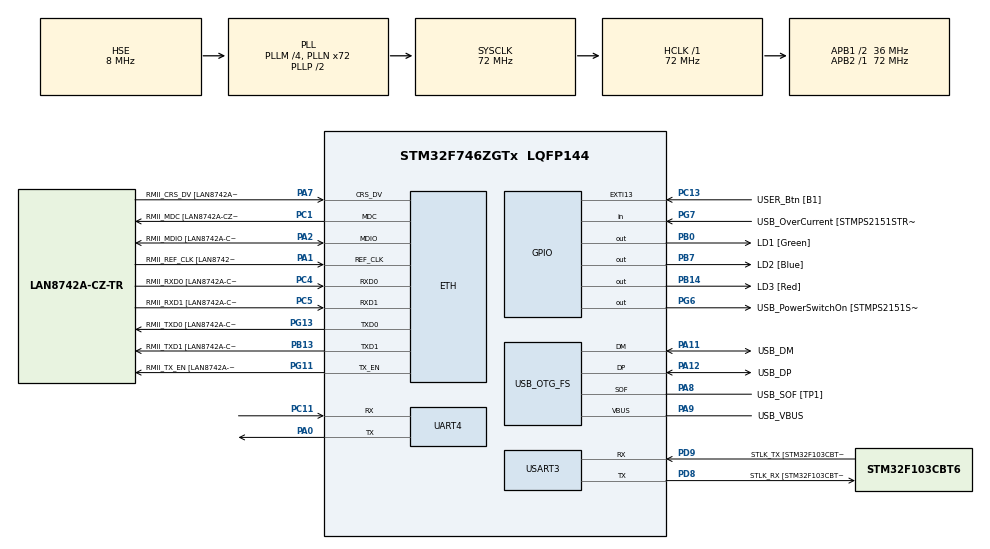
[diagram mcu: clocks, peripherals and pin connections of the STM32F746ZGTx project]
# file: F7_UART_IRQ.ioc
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ETH.MediaInterface=ETH_MEDIA_INTERFACE_RMII
ETH.PHY_Name=LAN8742A_PHY_ADDRESS
ETH.PHY_Value=0
ETH.PhyAddress=0
Mcu.Family=STM32F7
Mcu.Name=STM32F746ZGTx
Mcu.Package=LQFP144
NVIC.PriorityGroup=NVIC_PRIORITYGROUP_4
NVIC.UART4_IRQn=true\:0\:0\:false\:false\:true\:true\:true
NVIC.USART3_IRQn=true\:0\:0\:false\:false\:true\:true\:true
PA0/WKUP.Mode=Asynchronous
PA0/WKUP.Signal=UART4_TX
PA1.GPIO_Label=RMII_REF_CLK [LAN8742A-CZ-TR_REFCLK0]
PA1.Mode=RMII
PA1.Signal=ETH_REF_CLK
PA10.GPIO_Label=USB_ID
PA10.Signal=USB_OTG_FS_ID
PA11.GPIO_Label=USB_DM
PA11.Mode=Device_Only
PA11.Signal=USB_OTG_FS_DM
PA12.GPIO_Label=USB_DP
PA12.Mode=Device_Only
PA12.Signal=USB_OTG_FS_DP
PA13.GPIO_Label=TMS
PA13.Mode=Serial_Wire
PA13.Signal=SYS_JTMS-SWDIO
PA14.GPIO_Label=TCK
PA14.Mode=Serial_Wire
PA14.Signal=SYS_JTCK-SWCLK
PA2.GPIO_Label=RMII_MDIO [LAN8742A-CZ-TR_MDIO]
PA2.Mode=RMII
PA2.Signal=ETH_MDIO
PA7.GPIO_Label=RMII_CRS_DV [LAN8742A-CZ-TR_CRS_DV]
PA7.Mode=RMII
PA7.Signal=ETH_CRS_DV
PA8.GPIO_Label=USB_SOF [TP1]
PA8.Mode=Activate_SOF_FS
PA8.Signal=USB_OTG_FS_SOF
PA9.GPIO_Label=USB_VBUS
PA9.Mode=Activate_VBUS
PA9.Signal=USB_OTG_FS_VBUS
PB0.GPIO_Label=LD1 [Green]
PB0.Signal=GPIO_Output
PB13.GPIO_Label=RMII_TXD1 [LAN8742A-CZ-TR_TXD1]
PB13.Mode=RMII
PB13.Signal=ETH_TXD1
PB14.GPIO_Label=LD3 [Red]
PB14.Signal=GPIO_Output
PB3.GPIO_Label=SW0
PB3.Signal=SYS_JTDO-SWO
PB7.GPIO_Label=LD2 [Blue]
PB7.Signal=GPIO_Output
PC1.GPIO_Label=RMII_MDC [LAN8742A-CZ-TR_MDC]
PC1.Mode=RMII
PC1.Signal=ETH_MDC
PC11.Mode=Asynchronous
PC11.Signal=UART4_RX
PC13.GPIO_Label=USER_Btn [B1]
PC13.Signal=GPXTI13
PC14/OSC32_IN.Mode=LSE-External-Oscillator
PC14/OSC32_IN.Signal=RCC_OSC32_IN
PC15/OSC32_OUT.Mode=LSE-External-Oscillator
PC15/OSC32_OUT.Signal=RCC_OSC32_OUT
PC4.GPIO_Label=RMII_RXD0 [LAN8742A-CZ-TR_RXD0]
PC4.Mode=RMII
PC4.Signal=ETH_RXD0
PC5.GPIO_Label=RMII_RXD1 [LAN8742A-CZ-TR_RXD1]
PC5.Mode=RMII
PC5.Signal=ETH_RXD1
PD8.GPIO_Label=STLK_RX [STM32F103CBT6_PA3]
PD8.Mode=Asynchronous
PD8.Signal=USART3_TX
PD9.GPIO_Label=STLK_TX [STM32F103CBT6_PA2]
PD9.Mode=Asynchronous
PD9.Signal=USART3_RX
PG11.GPIO_Label=RMII_TX_EN [LAN8742A-CZ-TR_TXEN]
PG11.Mode=RMII
PG11.Signal=ETH_TX_EN
PG13.GPIO_Label=RMII_TXD0 [LAN8742A-CZ-TR_TXD0]
PG13.Mode=RMII
PG13.Signal=ETH_TXD0
PG6.GPIO_Label=USB_PowerSwitchOn [STMPS2151STR_EN]
PG6.Signal=GPIO_Output
PG7.GPIO_Label=USB_OverCurrent [STMPS2151STR_FAULT]
PG7.Signal=GPIO_Input
PH0/OSC_IN.GPIO_Label=MCO [STM32F103CBT6_PA8]
PH0/OSC_IN.Mode=HSE-External-Clock-Source
PH0/OSC_IN.Signal=RCC_OSC_IN
PH1/OSC_OUT.Mode=HSE-External-Clock-Source
PH1/OSC_OUT.Signal=RCC_OSC_OUT
ProjectManager.HeapSize=0x200
ProjectManager.StackSize=0x400
ProjectManager.TargetToolchain=STM32CubeIDE
RCC.48MHZClocksFreq_Value=24000000
RCC.AHBFreq_Value=72000000
RCC.APB1CLKDivider=RCC_HCLK_DIV2
RCC.APB1Freq_Value=36000000
RCC.APB1TimFreq_Value=72000000
RCC.APB2Freq_Value=72000000
RCC.APB2TimFreq_Value=72000000
RCC.CortexFreq_Value=72000000
RCC.HCLKFreq_Value=72000000
RCC.HSE_VALUE=8000000
RCC.HSI_VALUE=16000000
RCC.PLLM=4
RCC.PLLMUL=RCC_PLL_MUL9
RCC.PLLN=72
RCC.PLLQ=3
RCC.PRESCALERUSB=RCC_USBCLKSOURCE_PLL_DIV1_5
RCC.SYSCLKFreq_VALUE=72000000
RCC.SYSCLKSource=RCC_SYSCLKSOURCE_PLLCLK
RCC.SYSCLKSourceVirtual=RCC_SYSCLKSOURCE_PLLCLK
RCC.USBFreq_Value=48000000
RCC.VCOOutputFreq_Value=144000000
USART3.VirtualMode-Asynchronous=VM_ASYNC
USB_OTG_FS.VirtualMode=Device_Only
board=NUCLEO-F746ZG

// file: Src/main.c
/* USER CODE BEGIN Header */
/**
  ******************************************************************************
  * @file           : main.c
  * @brief          : Main program body
  ******************************************************************************
  * @attention
  *
  * <h2><center>&copy; Copyright (c) 2020 STMicroelectronics.
  * All rights reserved.</center></h2>
  *
  * This software component is licensed by ST under BSD 3-Clause license,
  * the "License"; You may not use this file except in compliance with the
  * License. You may obtain a copy of the License at:
  *                        opensource.org/licenses/BSD-3-Clause
  *
  ******************************************************************************
  */
/* USER CODE END Header */

#include "main.h"

ETH_HandleTypeDef heth;

UART_HandleTypeDef huart4;
UART_HandleTypeDef huart3;

PCD_HandleTypeDef hpcd_USB_OTG_FS;

/* USER CODE BEGIN PV */
uint8_t uart3_flag_calback=0;
uint8_t uart3_flag_h=0;
/* USER CODE END PV */

void SystemClock_Config(void);
static void MX_GPIO_Init(void);
static void MX_ETH_Init(void);
static void MX_UART4_Init(void);
static void MX_USART3_UART_Init(void);
static void MX_USB_OTG_FS_PCD_Init(void);

/* USER CODE BEGIN 0 */
//===========================================================================
/*
 * function for printf
 */
int __io_putchar(int ch)
{
	HAL_UART_Transmit(&huart3, (uint8_t *)&ch, 1, 0xFFFF);
	return ch;
}
//===========================================================================

/* USER CODE END 0 */

int main(void)
{
  /* USER CODE BEGIN 1 */
  uint8_t buff[100];
  /* USER CODE END 1 */

  /* MCU Configuration--------------------------------------------------------*/

  /* Reset of all peripherals, Initializes the Flash interface and the Systick. */
  HAL_Init();

  /* Configure the system clock */
  SystemClock_Config();

  /* Initialize all configured peripherals */
  MX_GPIO_Init();
  MX_ETH_Init();
  MX_UART4_Init();
  MX_USART3_UART_Init();
  MX_USB_OTG_FS_PCD_Init();
  /* USER CODE BEGIN 2 */
  HAL_UART_Receive_IT(&huart3, buff, 10);
  /* USER CODE END 2 */
	  // huart3.RxXferCount  counter bytes readied
	  // huart3.RxISR /*!< Function pointer on Rx IRQ handler   */
	  // if huart3.RxXferCount=0 or huart3.RxISR=NULL end read all bytes
	  // for on wait for interrupt need run HAL_UART_Receive_IT

  /* Infinite loop */
  /* USER CODE BEGIN WHILE */
	 printf("hello [%s]\n\r",buff);
  while (1)
  {
	  if(uart3_flag_calback)
	  {
		  printf("callback flag up [%s]\n\r",buff);
		  uart3_flag_calback = 0;
		  HAL_UART_Receive_IT(&huart3, buff, 10);
	  }
	  if(uart3_flag_h)
	  {
		  printf("USART3_IRQHandler flag UP\n\r");
		  printf("huart3.RxXferCount [%d]\n\r",huart3.RxXferCount);
		  uart3_flag_h = 0;
		  HAL_UART_Receive_IT(&huart3, buff, 10);
	  }
    /* USER CODE END WHILE */
  }
}

/*
(+) TxHalfCpltCallback        : Tx Half Complete Callback.
(+) TxCpltCallback            : Tx Complete Callback.
(+) RxHalfCpltCallback        : Rx Half Complete Callback.
(+) RxCpltCallback            : Rx Complete Callback.
(+) ErrorCallback             : Error Callback.
(+) AbortCpltCallback         : Abort Complete Callback.
(+) AbortTransmitCpltCallback : Abort Transmit Complete Callback.
(+) AbortReceiveCpltCallback  : Abort Receive Complete Callback.
(+) WakeupCallback            : Wakeup Callback.
(+) RxFifoFullCallback        : Rx Fifo Full Callback.
(+) TxFifoEmptyCallback       : Tx Fifo Empty Callback.
(+) MspInitCallback           : UART MspInit.
(+) MspDeInitCallback         : UART MspDeInit.
*/

void HAL_UART_RxCpltCallback(UART_HandleTypeDef *huart)
{
	printf("callback\n\r");
	uart3_flag_calback = 1;
}

/**
  * @brief This function handles USART3 global interrupt.
  */
void USART3_IRQHandler(void)
{
  HAL_UART_IRQHandler(&huart3);
  /* USER CODE BEGIN USART3_IRQn 1 */
	uart3_flag_h = 1;
  /* USER CODE END USART3_IRQn 1 */
}

void SystemClock_Config(void)
{
  RCC_OscInitTypeDef RCC_OscInitStruct = {0};
  RCC_ClkInitTypeDef RCC_ClkInitStruct = {0};
  RCC_PeriphCLKInitTypeDef PeriphClkInitStruct = {0};

  /** Configure LSE Drive Capability
  */
  HAL_PWR_EnableBkUpAccess();
  /** Configure the main internal regulator output voltage
  */
  __HAL_RCC_PWR_CLK_ENABLE();
  __HAL_PWR_VOLTAGESCALING_CONFIG(PWR_REGULATOR_VOLTAGE_SCALE3);
  /** Initializes the CPU, AHB and APB busses clocks
  */
  RCC_OscInitStruct.OscillatorType = RCC_OSCILLATORTYPE_HSE;
  RCC_OscInitStruct.HSEState = RCC_HSE_BYPASS;
  RCC_OscInitStruct.PLL.PLLState = RCC_PLL_ON;
  RCC_OscInitStruct.PLL.PLLSource = RCC_PLLSOURCE_HSE;
  RCC_OscInitStruct.PLL.PLLM = 4;
  RCC_OscInitStruct.PLL.PLLN = 72;
  RCC_OscInitStruct.PLL.PLLP = RCC_PLLP_DIV2;
  RCC_OscInitStruct.PLL.PLLQ = 3;
  if (HAL_RCC_OscConfig(&RCC_OscInitStruct) != HAL_OK)
  {
    Error_Handler();
  }
  /** Initializes the CPU, AHB and APB busses clocks
  */
  RCC_ClkInitStruct.ClockType = RCC_CLOCKTYPE_HCLK|RCC_CLOCKTYPE_SYSCLK
                              |RCC_CLOCKTYPE_PCLK1|RCC_CLOCKTYPE_PCLK2;
  RCC_ClkInitStruct.SYSCLKSource = RCC_SYSCLKSOURCE_PLLCLK;
  RCC_ClkInitStruct.AHBCLKDivider = RCC_SYSCLK_DIV1;
  RCC_ClkInitStruct.APB1CLKDivider = RCC_HCLK_DIV2;
  RCC_ClkInitStruct.APB2CLKDivider = RCC_HCLK_DIV1;

  if (HAL_RCC_ClockConfig(&RCC_ClkInitStruct, FLASH_LATENCY_2) != HAL_OK)
  {
    Error_Handler();
  }
  PeriphClkInitStruct.PeriphClockSelection = RCC_PERIPHCLK_USART3|RCC_PERIPHCLK_UART4
                              |RCC_PERIPHCLK_CLK48;
  PeriphClkInitStruct.Usart3ClockSelection = RCC_USART3CLKSOURCE_PCLK1;
  PeriphClkInitStruct.Uart4ClockSelection = RCC_UART4CLKSOURCE_PCLK1;
  PeriphClkInitStruct.Clk48ClockSelection = RCC_CLK48SOURCE_PLL;
  if (HAL_RCCEx_PeriphCLKConfig(&PeriphClkInitStruct) != HAL_OK)
  {
    Error_Handler();
  }
}

static void MX_ETH_Init(void)
{

   uint8_t MACAddr[6] ;

  heth.Instance = ETH;
  heth.Init.AutoNegotiation = ETH_AUTONEGOTIATION_ENABLE;
  heth.Init.PhyAddress = LAN8742A_PHY_ADDRESS;
  MACAddr[0] = 0x00;
  MACAddr[1] = 0x80;
  MACAddr[2] = 0xE1;
  MACAddr[3] = 0x00;
  MACAddr[4] = 0x00;
  MACAddr[5] = 0x00;
  heth.Init.MACAddr = &MACAddr[0];
  heth.Init.RxMode = ETH_RXPOLLING_MODE;
  heth.Init.ChecksumMode = ETH_CHECKSUM_BY_HARDWARE;
  heth.Init.MediaInterface = ETH_MEDIA_INTERFACE_RMII;

  if (HAL_ETH_Init(&heth) != HAL_OK)
  {
    Error_Handler();
  }

}

static void MX_UART4_Init(void)
{

  huart4.Instance = UART4;
  huart4.Init.BaudRate = 115200;
  huart4.Init.WordLength = UART_WORDLENGTH_8B;
  huart4.Init.StopBits = UART_STOPBITS_1;
  huart4.Init.Parity = UART_PARITY_NONE;
  huart4.Init.Mode = UART_MODE_TX_RX;
  huart4.Init.HwFlowCtl = UART_HWCONTROL_NONE;
  huart4.Init.OverSampling = UART_OVERSAMPLING_16;
  huart4.Init.OneBitSampling = UART_ONE_BIT_SAMPLE_DISABLE;
  huart4.AdvancedInit.AdvFeatureInit = UART_ADVFEATURE_NO_INIT;
  if (HAL_UART_Init(&huart4) != HAL_OK)
  {
    Error_Handler();
  }

}

static void MX_USART3_UART_Init(void)
{

  huart3.Instance = USART3;
  huart3.Init.BaudRate = 115200;
  huart3.Init.WordLength = UART_WORDLENGTH_8B;
  huart3.Init.StopBits = UART_STOPBITS_1;
  huart3.Init.Parity = UART_PARITY_NONE;
  huart3.Init.Mode = UART_MODE_TX_RX;
  huart3.Init.HwFlowCtl = UART_HWCONTROL_NONE;
  huart3.Init.OverSampling = UART_OVERSAMPLING_16;
  huart3.Init.OneBitSampling = UART_ONE_BIT_SAMPLE_DISABLE;
  huart3.AdvancedInit.AdvFeatureInit = UART_ADVFEATURE_NO_INIT;
  if (HAL_UART_Init(&huart3) != HAL_OK)
  {
    Error_Handler();
  }

}

static void MX_USB_OTG_FS_PCD_Init(void)
{

  hpcd_USB_OTG_FS.Instance = USB_OTG_FS;
  hpcd_USB_OTG_FS.Init.dev_endpoints = 6;
  hpcd_USB_OTG_FS.Init.speed = PCD_SPEED_FULL;
  hpcd_USB_OTG_FS.Init.dma_enable = DISABLE;
  hpcd_USB_OTG_FS.Init.phy_itface = PCD_PHY_EMBEDDED;
  hpcd_USB_OTG_FS.Init.Sof_enable = ENABLE;
  hpcd_USB_OTG_FS.Init.low_power_enable = DISABLE;
  hpcd_USB_OTG_FS.Init.lpm_enable = DISABLE;
  hpcd_USB_OTG_FS.Init.vbus_sensing_enable = ENABLE;
  hpcd_USB_OTG_FS.Init.use_dedicated_ep1 = DISABLE;
  if (HAL_PCD_Init(&hpcd_USB_OTG_FS) != HAL_OK)
  {
    Error_Handler();
  }

}

static void MX_GPIO_Init(void)
{
  GPIO_InitTypeDef GPIO_InitStruct = {0};

  /* GPIO Ports Clock Enable */
  __HAL_RCC_GPIOC_CLK_ENABLE();
  __HAL_RCC_GPIOH_CLK_ENABLE();
  __HAL_RCC_GPIOA_CLK_ENABLE();
  __HAL_RCC_GPIOB_CLK_ENABLE();
  __HAL_RCC_GPIOD_CLK_ENABLE();
  __HAL_RCC_GPIOG_CLK_ENABLE();

  /*Configure GPIO pin Output Level */
  HAL_GPIO_WritePin(GPIOB, LD1_Pin|LD3_Pin|LD2_Pin, GPIO_PIN_RESET);

  /*Configure GPIO pin Output Level */
  HAL_GPIO_WritePin(USB_PowerSwitchOn_GPIO_Port, USB_PowerSwitchOn_Pin, GPIO_PIN_RESET);

  /*Configure GPIO pin : USER_Btn_Pin */
  GPIO_InitStruct.Pin = USER_Btn_Pin;
  GPIO_InitStruct.Mode = GPIO_MODE_IT_RISING;
  GPIO_InitStruct.Pull = GPIO_NOPULL;
  HAL_GPIO_Init(USER_Btn_GPIO_Port, &GPIO_InitStruct);

  /*Configure GPIO pins : LD1_Pin LD3_Pin LD2_Pin */
  GPIO_InitStruct.Pin = LD1_Pin|LD3_Pin|LD2_Pin;
  GPIO_InitStruct.Mode = GPIO_MODE_OUTPUT_PP;
  GPIO_InitStruct.Pull = GPIO_NOPULL;
  GPIO_InitStruct.Speed = GPIO_SPEED_FREQ_LOW;
  HAL_GPIO_Init(GPIOB, &GPIO_InitStruct);

  /*Configure GPIO pin : USB_PowerSwitchOn_Pin */
  GPIO_InitStruct.Pin = USB_PowerSwitchOn_Pin;
  GPIO_InitStruct.Mode = GPIO_MODE_OUTPUT_PP;
  GPIO_InitStruct.Pull = GPIO_NOPULL;
  GPIO_InitStruct.Speed = GPIO_SPEED_FREQ_LOW;
  HAL_GPIO_Init(USB_PowerSwitchOn_GPIO_Port, &GPIO_InitStruct);

  /*Configure GPIO pin : USB_OverCurrent_Pin */
  GPIO_InitStruct.Pin = USB_OverCurrent_Pin;
  GPIO_InitStruct.Mode = GPIO_MODE_INPUT;
  GPIO_InitStruct.Pull = GPIO_NOPULL;
  HAL_GPIO_Init(USB_OverCurrent_GPIO_Port, &GPIO_InitStruct);

}

void Error_Handler(void)
{
}

/************************ (C) COPYRIGHT STMicroelectronics *****END OF FILE****/
